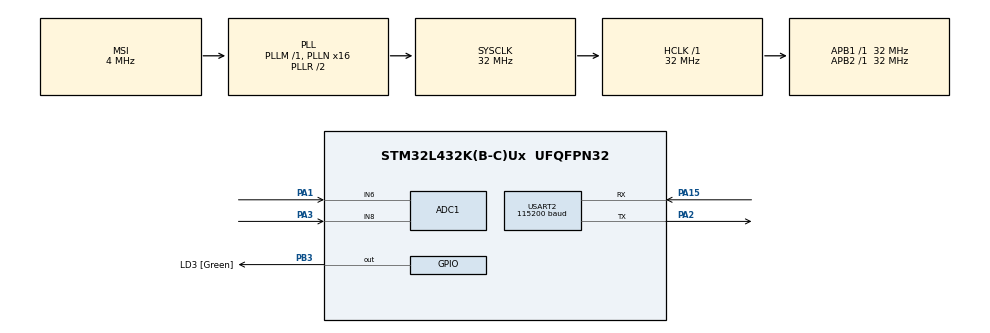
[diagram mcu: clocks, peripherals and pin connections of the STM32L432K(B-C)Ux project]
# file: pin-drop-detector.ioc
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ADC1.Channel-0\#ChannelRegularConversion=ADC_CHANNEL_6
ADC1.Channel-1\#ChannelRegularConversion=ADC_CHANNEL_8
ADC1.ContinuousConvMode=DISABLE
ADC1.DMAContinuousRequests=ENABLE
ADC1.EnableAnalogWatchDog1=false
ADC1.ExternalTrigConv=ADC_EXTERNALTRIG_T1_TRGO
ADC1.ExternalTrigConvEdge=ADC_EXTERNALTRIGCONVEDGE_RISING
ADC1.NbrOfConversion=2
ADC1.NbrOfConversionFlag=1
ADC1.OffsetNumber-0\#ChannelRegularConversion=ADC_OFFSET_NONE
ADC1.OffsetNumber-1\#ChannelRegularConversion=ADC_OFFSET_NONE
ADC1.Overrun=ADC_OVR_DATA_OVERWRITTEN
ADC1.Rank-0\#ChannelRegularConversion=1
ADC1.Rank-1\#ChannelRegularConversion=2
ADC1.SamplingTime-0\#ChannelRegularConversion=ADC_SAMPLETIME_12CYCLES_5
ADC1.SamplingTime-1\#ChannelRegularConversion=ADC_SAMPLETIME_12CYCLES_5
ADC1.master=1
Dma.ADC1.0.Direction=DMA_PERIPH_TO_MEMORY
Dma.ADC1.0.Instance=DMA1_Channel1
Dma.ADC1.0.MemDataAlignment=DMA_MDATAALIGN_HALFWORD
Dma.ADC1.0.MemInc=DMA_MINC_ENABLE
Dma.ADC1.0.Mode=DMA_CIRCULAR
Dma.ADC1.0.PeriphDataAlignment=DMA_PDATAALIGN_HALFWORD
Dma.ADC1.0.PeriphInc=DMA_PINC_DISABLE
Dma.ADC1.0.Priority=DMA_PRIORITY_LOW
Dma.Request0=ADC1
Dma.Request1=USART2_TX
Dma.USART2_TX.1.Direction=DMA_MEMORY_TO_PERIPH
Dma.USART2_TX.1.Instance=DMA1_Channel7
Dma.USART2_TX.1.MemDataAlignment=DMA_MDATAALIGN_BYTE
Dma.USART2_TX.1.MemInc=DMA_MINC_ENABLE
Dma.USART2_TX.1.Mode=DMA_NORMAL
Dma.USART2_TX.1.PeriphDataAlignment=DMA_PDATAALIGN_BYTE
Dma.USART2_TX.1.PeriphInc=DMA_PINC_DISABLE
Dma.USART2_TX.1.Priority=DMA_PRIORITY_LOW
Mcu.Family=STM32L4
Mcu.Name=STM32L432K(B-C)Ux
Mcu.Package=UFQFPN32
NVIC.ADC1_IRQn=true\:0\:0\:false\:false\:true\:true\:true\:true
NVIC.DMA1_Channel1_IRQn=true\:0\:0\:false\:false\:true\:false\:true\:true
NVIC.DMA1_Channel7_IRQn=true\:0\:0\:false\:false\:true\:false\:true\:true
NVIC.PriorityGroup=NVIC_PRIORITYGROUP_4
NVIC.USART2_IRQn=true\:0\:0\:false\:false\:true\:true\:true\:true
PA0.Mode=HSE-External-Clock-Source-for-LittleOrca
PA0.Signal=RCC_CK_IN
PA1.Signal=ADCx_IN6
PA13\ (JTMS-SWDIO).GPIO_Label=SWDIO
PA13\ (JTMS-SWDIO).Mode=Serial_Wire
PA13\ (JTMS-SWDIO).Signal=SYS_JTMS-SWDIO
PA14\ (JTCK-SWCLK).GPIO_Label=SWCLK
PA14\ (JTCK-SWCLK).Mode=Serial_Wire
PA14\ (JTCK-SWCLK).Signal=SYS_JTCK-SWCLK
PA15\ (JTDI).Mode=Asynchronous
PA15\ (JTDI).Signal=USART2_RX
PA2.Mode=Asynchronous
PA2.Signal=USART2_TX
PA3.Signal=ADCx_IN8
PB3\ (JTDO-TRACESWO).GPIO_Label=LD3 [Green]
PB3\ (JTDO-TRACESWO).Signal=GPIO_Output
PC14-OSC32_IN\ (PC14).Mode=LSE-External-Oscillator
PC14-OSC32_IN\ (PC14).Signal=RCC_OSC32_IN
PC15-OSC32_OUT\ (PC15).Mode=LSE-External-Oscillator
PC15-OSC32_OUT\ (PC15).Signal=RCC_OSC32_OUT
ProjectManager.HeapSize=0x200
ProjectManager.StackSize=0x400
ProjectManager.TargetToolchain=CMake
RCC.ADCFreq_Value=32000000
RCC.AHBFreq_Value=32000000
RCC.APB1Freq_Value=32000000
RCC.APB1TimFreq_Value=32000000
RCC.APB2Freq_Value=32000000
RCC.APB2TimFreq_Value=32000000
RCC.CortexFreq_Value=32000000
RCC.HCLKFreq_Value=32000000
RCC.HSE_VALUE=8000000
RCC.HSI16_VALUE=16000000
RCC.HSI48_VALUE=48000000
RCC.HSI_VALUE=16000000
RCC.MSI_VALUE=4000000
RCC.PLLMUL=RCC_PLLMUL_4
RCC.PLLN=16
RCC.PLLSAI1N=16
RCC.SYSCLKFreq_VALUE=32000000
RCC.SYSCLKSource=RCC_SYSCLKSOURCE_PLLCLK
RCC.USBFreq_Value=32000000
RCC.VCOOutputFreq_Value=64000000
SH.ADCx_IN6.0=ADC1_IN6,IN6-Single-Ended
SH.ADCx_IN8.0=ADC1_IN8,IN8-Single-Ended
TIM1.Period=3200
TIM1.TIM_MasterOutputTrigger=TIM_TRGO_UPDATE
USART2.BaudRate=115200
USART2.VirtualMode-Asynchronous=VM_ASYNC
VP_TIM1_VS_ClockSourceINT.Mode=Internal
board=NUCLEO-L432KC

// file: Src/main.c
/* USER CODE BEGIN Header */
/**
  ******************************************************************************
  * @file           : main.c
  * @brief          : Main program body — ADC dual-channel with double buffering,
  *                   moving average filter, and outlier rejection.
  ******************************************************************************
  * @attention
  *
  * Copyright (c) 2026 STMicroelectronics.
  * All rights reserved.
  *
  * This software is licensed under terms that can be found in the LICENSE file
  * in the root directory of this software component.
  * If no LICENSE file comes with this software, it is provided AS-IS.
  *
  ******************************************************************************
  */
/* USER CODE END Header */

#include "main.h"
#include <stdint.h>

/* USER CODE BEGIN Includes */
#include <stdio.h>
#include <string.h>
#include <stdlib.h>   /* abs() */
/* USER CODE END Includes */

/* USER CODE BEGIN PTD */

typedef struct __attribute__((packed)) {
  uint8_t  start_delimiter;
  uint16_t adc0;
  uint16_t adc1;
} uart_packet_t;

/* USER CODE END PTD */

/* USER CODE BEGIN PD */

/* Number of timer-triggered ADC pairs captured into the DMA ring.
   Must be even so the half/full callbacks split cleanly. */
#define SAMPLES        1000          /* total ADC *pairs* in DMA buffer        */
#define HALF           (SAMPLES / 2) /* samples per processing half            */

/* Moving-average sliding window (per channel) */
#define WINDOW_SIZE    3

/* Outlier gate: replace sample when |sample - mean| > mean * THRESHOLD / 100 */
#define OUTLIER_THRESHOLD  85

/* USER CODE END PD */

ADC_HandleTypeDef hadc1;
DMA_HandleTypeDef hdma_adc1;

TIM_HandleTypeDef htim1;

UART_HandleTypeDef huart2;
DMA_HandleTypeDef hdma_usart2_tx;

/* USER CODE BEGIN PV */

/* ── DMA write buffer ────────────────────────────────────────────────────────
   ADC is configured for 2 regular channels (CH6 rank-1, CH8 rank-2).
   Each TIM1 TRGO trigger causes one full scan → 2 uint16 values written.
   With SAMPLES=1000 pairs the DMA buffer holds 2000 uint16 words total.
   DMA circular mode fills it continuously; the half/full callbacks fire at
   index [0] and index [SAMPLES] respectively. */
volatile uint16_t dma_buffer[SAMPLES * 2]; /* interleaved: [adc0, adc1, adc0, adc1, ...] */

/* Flags set by ISR, cleared by main loop */
volatile int first_half_ready  = 0;
volatile int second_half_ready = 0;

/* ── Processing buffers (one set per channel, per half) ──────────────────── */
/* Channel 0 */
volatile uint16_t proc_buf_ch0_1[HALF], proc_buf_ch0_2[HALF];
volatile uint16_t out_buf_ch0_1[HALF],  out_buf_ch0_2[HALF];

/* Channel 1 */
volatile uint16_t proc_buf_ch1_1[HALF], proc_buf_ch1_2[HALF];
volatile uint16_t out_buf_ch1_1[HALF],  out_buf_ch1_2[HALF];

/* Moving-average state (reset before each half) */
volatile uint16_t window_ch0[WINDOW_SIZE];
volatile uint16_t window_ch1[WINDOW_SIZE];
volatile uint32_t sum_ch0 = 0, sum_ch1 = 0;
volatile int      win_idx = 0;

/* UART */
volatile uint8_t uart_tx_busy = 0;

uart_packet_t uart_tx = {
  .start_delimiter = 0xAA,
  .adc0 = 0,
  .adc1 = 0
};

/* USER CODE END PV */

void SystemClock_Config(void);
static void MX_GPIO_Init(void);
static void MX_DMA_Init(void);
static void MX_ADC1_Init(void);
static void MX_TIM1_Init(void);
static void MX_USART2_UART_Init(void);

/* USER CODE BEGIN PFP */
static void process_half(
    const volatile uint16_t *raw_interleaved, /* pointer into dma_buffer        */
    volatile uint16_t *proc_ch0,              /* deinterleaved + shift staging  */
    volatile uint16_t *proc_ch1,
    volatile uint16_t *out_ch0,               /* filtered output                */
    volatile uint16_t *out_ch1);
/* USER CODE END PFP */

/* USER CODE BEGIN 0 */

/**
 * @brief  Run the full processing pipeline on one half-buffer.
 *
 * Steps per channel:
 *   1. De-interleave from DMA buffer
 *   2. Left-shift << 4  (align 12-bit result to MSB of uint16)
 *   3. Warm-up window fill with simple cumulative average
 *   4. For remaining samples:
 *        a. Outlier rejection  (replace spike with current window mean)
 *        b. Moving average update
 */
static void process_half(
    const volatile uint16_t *raw,
    volatile uint16_t *proc_ch0, volatile uint16_t *proc_ch1,
    volatile uint16_t *out_ch0,  volatile uint16_t *out_ch1)
{
  /* Reset moving-average state */
  sum_ch0 = 0; sum_ch1 = 0; win_idx = 0;

  /* ── 1. De-interleave --------------------------------------------------- */
  for (int i = 0; i < HALF; i++) {
    proc_ch0[i] = raw[i * 2];       /* even words = CH6  */
    proc_ch1[i] = raw[i * 2 + 1];   /* odd  words = CH8  */
  }

  /* ── 2–4. Shift + warm-up window --------------------------------------- */
  for (int i = 0; i < WINDOW_SIZE; i++) {
    proc_ch0[i] = proc_ch0[i] << 4;
    proc_ch1[i] = proc_ch1[i] << 4;

    window_ch0[i] = proc_ch0[i];
    window_ch1[i] = proc_ch1[i];

    sum_ch0 += window_ch0[i];
    sum_ch1 += window_ch1[i];

    /* Simple cumulative average during warm-up */
    out_ch0[i] = (uint16_t)(sum_ch0 / (i + 1));
    out_ch1[i] = (uint16_t)(sum_ch1 / (i + 1));
  }

  /* ── 3–4. Steady-state: outlier rejection + moving average -------------- */
  for (int i = WINDOW_SIZE; i < HALF; i++) {
    proc_ch0[i] = proc_ch0[i] << 4;
    proc_ch1[i] = proc_ch1[i] << 4;

    uint16_t s0 = proc_ch0[i];
    uint16_t s1 = proc_ch1[i];

    uint16_t mean0 = (uint16_t)(sum_ch0 / WINDOW_SIZE);
    uint16_t mean1 = (uint16_t)(sum_ch1 / WINDOW_SIZE);

    /* Outlier gate — replace spike with current window mean */
    uint16_t thr0 = (uint16_t)((mean0 * OUTLIER_THRESHOLD) / 100);
    uint16_t thr1 = (uint16_t)((mean1 * OUTLIER_THRESHOLD) / 100);

    if (abs((int)s0 - (int)mean0) > thr0) s0 = mean0;
    if (abs((int)s1 - (int)mean1) > thr1) s1 = mean1;

    /* Sliding window update */
    sum_ch0 -= window_ch0[win_idx];
    sum_ch1 -= window_ch1[win_idx];

    window_ch0[win_idx] = s0;
    window_ch1[win_idx] = s1;

    sum_ch0 += s0;
    sum_ch1 += s1;

    out_ch0[i] = (uint16_t)(sum_ch0 / WINDOW_SIZE);
    out_ch1[i] = (uint16_t)(sum_ch1 / WINDOW_SIZE);

    win_idx = (win_idx + 1 == WINDOW_SIZE) ? 0 : win_idx + 1;
  }
}

/* USER CODE END 0 */

int main(void)
{

  HAL_Init();

  SystemClock_Config();

  MX_GPIO_Init();
  MX_DMA_Init();
  MX_ADC1_Init();
  MX_TIM1_Init();
  MX_USART2_UART_Init();

  /* USER CODE BEGIN 2 */
  HAL_ADCEx_Calibration_Start(&hadc1, ADC_SINGLE_ENDED);
  HAL_TIM_Base_Start(&htim1);

  /* Start DMA circular capture — 2 channels × SAMPLES triggers = 2*SAMPLES words */
  HAL_ADC_Start_DMA(&hadc1, (uint32_t*)dma_buffer, SAMPLES * 2);
  /* USER CODE END 2 */

  /* Infinite loop */
  /* USER CODE BEGIN WHILE */
  while (1)
  {
    /* ── First half ready ------------------------------------------------- */
    if (first_half_ready) {
      first_half_ready = 0;

      process_half(
        &dma_buffer[0],          /* first HALF pairs start at index 0 */
        proc_buf_ch0_1, proc_buf_ch1_1,
        out_buf_ch0_1,  out_buf_ch1_1);

      /* Transmit one representative sample per processed half.
         Extend to a loop / DMA scatter if you need all HALF samples. */
      if (!uart_tx_busy) {
        uart_tx.adc0 = out_buf_ch0_1[HALF - 1];  /* last filtered sample */
        uart_tx.adc1 = out_buf_ch1_1[HALF - 1];
        uart_tx_busy = 1;
        HAL_UART_Transmit_DMA(&huart2, (uint8_t*)&uart_tx, sizeof(uart_tx));
      }
    }

    /* ── Second half ready ------------------------------------------------ */
    if (second_half_ready) {
      second_half_ready = 0;

      process_half(
        &dma_buffer[HALF * 2],   /* second HALF pairs start at index HALF*2 */
        proc_buf_ch0_2, proc_buf_ch1_2,
        out_buf_ch0_2,  out_buf_ch1_2);

      if (!uart_tx_busy) {
        uart_tx.adc0 = out_buf_ch0_2[HALF - 1];
        uart_tx.adc1 = out_buf_ch1_2[HALF - 1];
        uart_tx_busy = 1;
        HAL_UART_Transmit_DMA(&huart2, (uint8_t*)&uart_tx, sizeof(uart_tx));
      }
    }
    /* USER CODE END WHILE */

  }
}

void SystemClock_Config(void)
{
  RCC_OscInitTypeDef RCC_OscInitStruct = {0};
  RCC_ClkInitTypeDef RCC_ClkInitStruct = {0};

  if (HAL_PWREx_ControlVoltageScaling(PWR_REGULATOR_VOLTAGE_SCALE1) != HAL_OK)
    Error_Handler();

  HAL_PWR_EnableBkUpAccess();
  __HAL_RCC_LSEDRIVE_CONFIG(RCC_LSEDRIVE_LOW);

  RCC_OscInitStruct.OscillatorType      = RCC_OSCILLATORTYPE_LSE | RCC_OSCILLATORTYPE_MSI;
  RCC_OscInitStruct.LSEState            = RCC_LSE_ON;
  RCC_OscInitStruct.MSIState            = RCC_MSI_ON;
  RCC_OscInitStruct.MSICalibrationValue = 0;
  RCC_OscInitStruct.MSIClockRange       = RCC_MSIRANGE_6;
  RCC_OscInitStruct.PLL.PLLState        = RCC_PLL_ON;
  RCC_OscInitStruct.PLL.PLLSource       = RCC_PLLSOURCE_MSI;
  RCC_OscInitStruct.PLL.PLLM            = 1;
  RCC_OscInitStruct.PLL.PLLN            = 16;
  RCC_OscInitStruct.PLL.PLLP            = RCC_PLLP_DIV7;
  RCC_OscInitStruct.PLL.PLLQ            = RCC_PLLQ_DIV2;
  RCC_OscInitStruct.PLL.PLLR            = RCC_PLLR_DIV2;
  if (HAL_RCC_OscConfig(&RCC_OscInitStruct) != HAL_OK)
    Error_Handler();

  RCC_ClkInitStruct.ClockType      = RCC_CLOCKTYPE_HCLK | RCC_CLOCKTYPE_SYSCLK
                                   | RCC_CLOCKTYPE_PCLK1 | RCC_CLOCKTYPE_PCLK2;
  RCC_ClkInitStruct.SYSCLKSource   = RCC_SYSCLKSOURCE_PLLCLK;
  RCC_ClkInitStruct.AHBCLKDivider  = RCC_SYSCLK_DIV1;
  RCC_ClkInitStruct.APB1CLKDivider = RCC_HCLK_DIV1;
  RCC_ClkInitStruct.APB2CLKDivider = RCC_HCLK_DIV1;
  if (HAL_RCC_ClockConfig(&RCC_ClkInitStruct, FLASH_LATENCY_1) != HAL_OK)
    Error_Handler();

  HAL_RCCEx_EnableMSIPLLMode();
}

static void MX_ADC1_Init(void)
{
  ADC_ChannelConfTypeDef sConfig = {0};

  hadc1.Instance                   = ADC1;
  hadc1.Init.ClockPrescaler         = ADC_CLOCK_ASYNC_DIV1;
  hadc1.Init.Resolution             = ADC_RESOLUTION_12B;
  hadc1.Init.DataAlign              = ADC_DATAALIGN_RIGHT;
  hadc1.Init.ScanConvMode           = ADC_SCAN_ENABLE;
  hadc1.Init.EOCSelection           = ADC_EOC_SINGLE_CONV;
  hadc1.Init.LowPowerAutoWait       = DISABLE;
  hadc1.Init.ContinuousConvMode     = DISABLE;
  hadc1.Init.NbrOfConversion        = 2;
  hadc1.Init.DiscontinuousConvMode  = DISABLE;
  hadc1.Init.ExternalTrigConv       = ADC_EXTERNALTRIG_T1_TRGO;
  hadc1.Init.ExternalTrigConvEdge   = ADC_EXTERNALTRIGCONVEDGE_RISING;
  hadc1.Init.DMAContinuousRequests  = ENABLE;
  hadc1.Init.Overrun                = ADC_OVR_DATA_OVERWRITTEN;
  hadc1.Init.OversamplingMode       = DISABLE;
  if (HAL_ADC_Init(&hadc1) != HAL_OK)
    Error_Handler();

  sConfig.Channel      = ADC_CHANNEL_6;
  sConfig.Rank         = ADC_REGULAR_RANK_1;
  sConfig.SamplingTime = ADC_SAMPLETIME_12CYCLES_5;
  sConfig.SingleDiff   = ADC_SINGLE_ENDED;
  sConfig.OffsetNumber = ADC_OFFSET_NONE;
  sConfig.Offset       = 0;
  if (HAL_ADC_ConfigChannel(&hadc1, &sConfig) != HAL_OK)
    Error_Handler();

  sConfig.Channel = ADC_CHANNEL_8;
  sConfig.Rank    = ADC_REGULAR_RANK_2;
  if (HAL_ADC_ConfigChannel(&hadc1, &sConfig) != HAL_OK)
    Error_Handler();
}

static void MX_TIM1_Init(void)
{
  TIM_ClockConfigTypeDef  sClockSourceConfig = {0};
  TIM_MasterConfigTypeDef sMasterConfig      = {0};

  htim1.Instance               = TIM1;
  htim1.Init.Prescaler         = 0;
  htim1.Init.CounterMode       = TIM_COUNTERMODE_UP;
  htim1.Init.Period            = 3200;
  htim1.Init.ClockDivision     = TIM_CLOCKDIVISION_DIV1;
  htim1.Init.RepetitionCounter = 0;
  htim1.Init.AutoReloadPreload = TIM_AUTORELOAD_PRELOAD_DISABLE;
  if (HAL_TIM_Base_Init(&htim1) != HAL_OK)
    Error_Handler();

  sClockSourceConfig.ClockSource = TIM_CLOCKSOURCE_INTERNAL;
  if (HAL_TIM_ConfigClockSource(&htim1, &sClockSourceConfig) != HAL_OK)
    Error_Handler();

  sMasterConfig.MasterOutputTrigger  = TIM_TRGO_UPDATE;
  sMasterConfig.MasterOutputTrigger2 = TIM_TRGO2_RESET;
  sMasterConfig.MasterSlaveMode      = TIM_MASTERSLAVEMODE_DISABLE;
  if (HAL_TIMEx_MasterConfigSynchronization(&htim1, &sMasterConfig) != HAL_OK)
    Error_Handler();
}

static void MX_USART2_UART_Init(void)
{
  huart2.Instance            = USART2;
  huart2.Init.BaudRate       = 115200;
  huart2.Init.WordLength     = UART_WORDLENGTH_8B;
  huart2.Init.StopBits       = UART_STOPBITS_1;
  huart2.Init.Parity         = UART_PARITY_NONE;
  huart2.Init.Mode           = UART_MODE_TX_RX;
  huart2.Init.HwFlowCtl      = UART_HWCONTROL_NONE;
  huart2.Init.OverSampling   = UART_OVERSAMPLING_16;
  huart2.Init.OneBitSampling = UART_ONE_BIT_SAMPLE_DISABLE;
  huart2.AdvancedInit.AdvFeatureInit = UART_ADVFEATURE_NO_INIT;
  if (HAL_UART_Init(&huart2) != HAL_OK)
    Error_Handler();
}

static void MX_DMA_Init(void)
{
  __HAL_RCC_DMA1_CLK_ENABLE();

  HAL_NVIC_SetPriority(DMA1_Channel1_IRQn, 0, 0);
  HAL_NVIC_EnableIRQ(DMA1_Channel1_IRQn);

  HAL_NVIC_SetPriority(DMA1_Channel7_IRQn, 0, 0);
  HAL_NVIC_EnableIRQ(DMA1_Channel7_IRQn);
}

static void MX_GPIO_Init(void)
{
  GPIO_InitTypeDef GPIO_InitStruct = {0};

  __HAL_RCC_GPIOC_CLK_ENABLE();
  __HAL_RCC_GPIOA_CLK_ENABLE();
  __HAL_RCC_GPIOB_CLK_ENABLE();

  HAL_GPIO_WritePin(LD3_GPIO_Port, LD3_Pin, GPIO_PIN_RESET);

  GPIO_InitStruct.Pin   = LD3_Pin;
  GPIO_InitStruct.Mode  = GPIO_MODE_OUTPUT_PP;
  GPIO_InitStruct.Pull  = GPIO_NOPULL;
  GPIO_InitStruct.Speed = GPIO_SPEED_FREQ_LOW;
  HAL_GPIO_Init(LD3_GPIO_Port, &GPIO_InitStruct);
}

/* USER CODE BEGIN 4 */

/**
 * @brief  ADC DMA half-complete — first 500 pairs are ready.
 */
void HAL_ADC_ConvHalfCpltCallback(ADC_HandleTypeDef *hadc)
{
  (void)hadc;
  first_half_ready = 1;
}

/**
 * @brief  ADC DMA complete — second 500 pairs are ready.
 */
void HAL_ADC_ConvCpltCallback(ADC_HandleTypeDef *hadc)
{
  (void)hadc;
  second_half_ready = 1;
}

/**
 * @brief  UART DMA TX complete — bus is free for next packet.
 */
void HAL_UART_TxCpltCallback(UART_HandleTypeDef *huart)
{
  if (huart->Instance == USART2)
    uart_tx_busy = 0;
}

/* USER CODE END 4 */

/**
  * @brief  Error handler
  */
void Error_Handler(void)
{
  __disable_irq();
  while (1) {}
}
